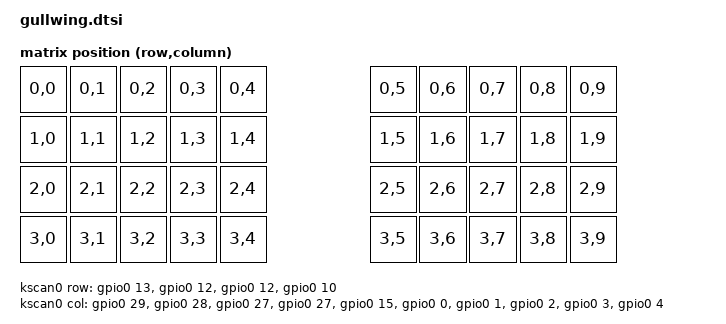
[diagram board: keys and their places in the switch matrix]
/*
 * Copyright (c) 2022 The ZMK Contributors
 *
 * SPDX-License-Identifier: MIT
 */

#include <dt-bindings/zmk/matrix_transform.h>
#include <input/processors.dtsi>

/ {
  chosen: chosen {
    zmk,kscan = &kscan0;
    zmk,matrix_transform = &physical_layout0;
  };

  default_transform: keymap_transform0 {
    compatible = "zmk,matrix-transform";
    columns = <10>;
    rows = <4>;
    map = <
        RC(0,0) RC(0,1) RC(0,2) RC(0,3) RC(0,4)                                       RC(0,5) RC(0,6) RC(0,7) RC(0,8) RC(0,9)
        RC(1,0) RC(1,1) RC(1,2) RC(1,3) RC(1,4)                                       RC(1,5) RC(1,6) RC(1,7) RC(1,8) RC(1,9)
        RC(2,0) RC(2,1) RC(2,2) RC(2,3) RC(2,4)                                       RC(2,5) RC(2,6) RC(2,7) RC(2,8) RC(2,9)
                               RC(3,0) RC(3,1) RC(3,2) RC(3,3) RC(3,4) RC(3,5) RC(3,6) RC(3,7) RC(3,8) RC(3,9)
    >;
  };

  kscan0: kscan {
    compatible = "zmk,kscan-gpio-matrix";
    wakeup-source;

    diode-direction = "row2col";

    col-gpios
        = <&gpio0 29 GPIO_ACTIVE_HIGH>  // 0
        , <&gpio0 28 GPIO_ACTIVE_HIGH>  // 1
        , <&gpio0 27 GPIO_ACTIVE_HIGH>  // 2
        , <&gpio0 27 GPIO_ACTIVE_HIGH>  // 3
        , <&gpio0 15 GPIO_ACTIVE_HIGH>  // 4
        , <&gpio0 0 GPIO_ACTIVE_HIGH>  // 5
        , <&gpio0 1 GPIO_ACTIVE_HIGH>  // 6
        , <&gpio0 2 GPIO_ACTIVE_HIGH>  // 7
        , <&gpio0 3 GPIO_ACTIVE_HIGH>  // 8
        , <&gpio0 4 GPIO_ACTIVE_HIGH>  // 9
        ;

    row-gpios
      = <&gpio0 13 (GPIO_ACTIVE_HIGH | GPIO_PULL_DOWN)>  // 0
      , <&gpio0 12 (GPIO_ACTIVE_HIGH | GPIO_PULL_DOWN)>  // 1
      , <&gpio0 12 (GPIO_ACTIVE_HIGH | GPIO_PULL_DOWN)>  // 2
      , <&gpio0 10 (GPIO_ACTIVE_HIGH | GPIO_PULL_DOWN)>  // 3
      ;

  };
};

&pinctrl {
    // sda=8 (i2c0)
    // scl=9 (i2c0)
    // dr=7
    i2c0_default: i2c0_default {
        group1 {
            pinmux = <I2C0_SDA_P8>, <I2C0_SCL_P9>;
            input-enable;
            input-schmitt-enable;
        };
    };
};

&i2c0 {
    status = "okay";
    pinctrl-0 = <&i2c0_default>;
    pinctrl-names = "default";
    clock-frequency = <I2C_BITRATE_FAST>;
};


/* / { */
/*     split_inputs { */
/*         #address-cells = <1>; */
/*         #size-cells = <0>; */
/**/
/*         glidepoint_split: glidepoint_split@0 { */
/*             compatible = "zmk,input-split"; */
/*             reg = <0>; */
/*         }; */
/*     }; */
/**/
/*     glidepoint_listener: glidepoint_listener { */
/*         compatible = "zmk,input-listener"; */
/*         status = "disabled"; */
/*         device = <&glidepoint_split>; */
/**/
/*         // optional input processor */
/*          input-processors = <&zip_xy_scaler 6 5>, <&zip_temp_layer 5 600>; */
/**/
/*         scroll { */
/*             layers = <4>; */
/*             input-processors = <&zip_xy_to_scroll_mapper>; */
/*             process-next; */
/*         }; */
/*     }; */
/* }; */

